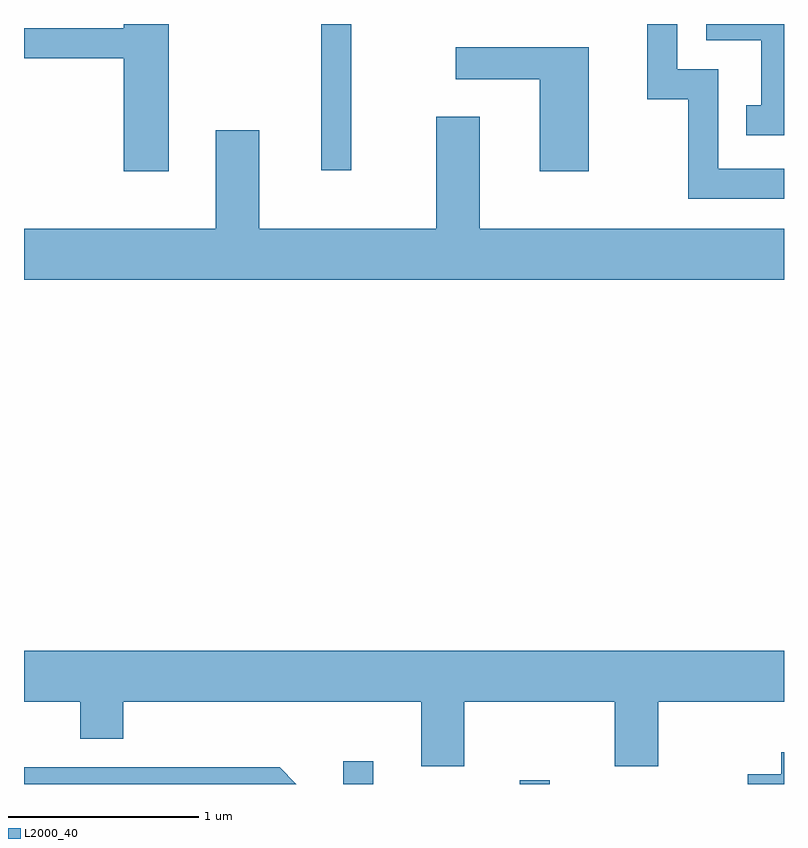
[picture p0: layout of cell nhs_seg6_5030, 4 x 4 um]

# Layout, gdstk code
import gdstk
lib = gdstk.Library(unit=1e-6, precision=1e-09)
def R(c, l, rs):  # rectangles x0, y0, x1, y1
    for r in rs: c.add(gdstk.rectangle(r[:2], r[2:], *l))
def P(c, l, *ps):  # polygons
    for p in ps: c.add(gdstk.Polygon(p, *l))
L2000_40 = (2000, 40)

nhs_seg6_5030 = lib.new_cell('nhs_seg6_5030')
R(nhs_seg6_5030, L2000_40, [(339.291,1656.162,339.449,1656.283), (340.221,1656.162,340.379,1656.183), (339.176,1659.393,339.334,1660.162)])
P(nhs_seg6_5030, L2000_40, [(338.374,1660.162),(338.136,1660.162),(338.136,1660.139),(337.611,1660.139),(337.611,1659.981),(338.136,1659.981),(338.136,1659.386),(338.374,1659.386)],
  [(341.611,1660.162),(341.201,1660.162),(341.201,1660.076),(341.491,1660.076),(341.491,1659.734),(341.413,1659.734),(341.413,1659.576),(341.611,1659.576)],
  [(341.611,1659.399),(341.264,1659.399),(341.264,1659.924),(341.049,1659.924),(341.049,1660.162),(340.891,1660.162),(340.891,1659.766),(341.106,1659.766),(341.106,1659.241),(341.611,1659.241)],
  [(340.584,1660.039),(339.883,1660.039),(339.883,1659.871),(340.326,1659.871),(340.326,1659.386),(340.584,1659.386)],
  [(341.611,1659.084),(340.009,1659.084),(340.009,1659.674),(339.781,1659.674),(339.781,1659.084),(338.849,1659.084),(338.849,1659.604),(338.621,1659.604),(338.621,1659.084),(337.611,1659.084),(337.611,1658.816),(341.611,1658.816)],
  [(339.929,1656.596),(340.721,1656.596),(340.721,1656.256),(340.949,1656.256),(340.949,1656.596),(341.611,1656.596),(341.611,1656.864),(337.611,1656.864),(337.611,1656.596),(337.906,1656.596),(337.906,1656.401),(338.134,1656.401),(338.134,1656.596),(339.701,1656.596),(339.701,1656.256),(339.929,1656.256)],
  [(341.611,1656.328),(341.596,1656.328),(341.596,1656.214),(341.421,1656.214),(341.421,1656.162),(341.611,1656.162)],
  [(338.957,1656.249),(337.611,1656.249),(337.611,1656.162),(339.044,1656.162)])

lib.write_gds('nhs_seg6_5030.gds')
